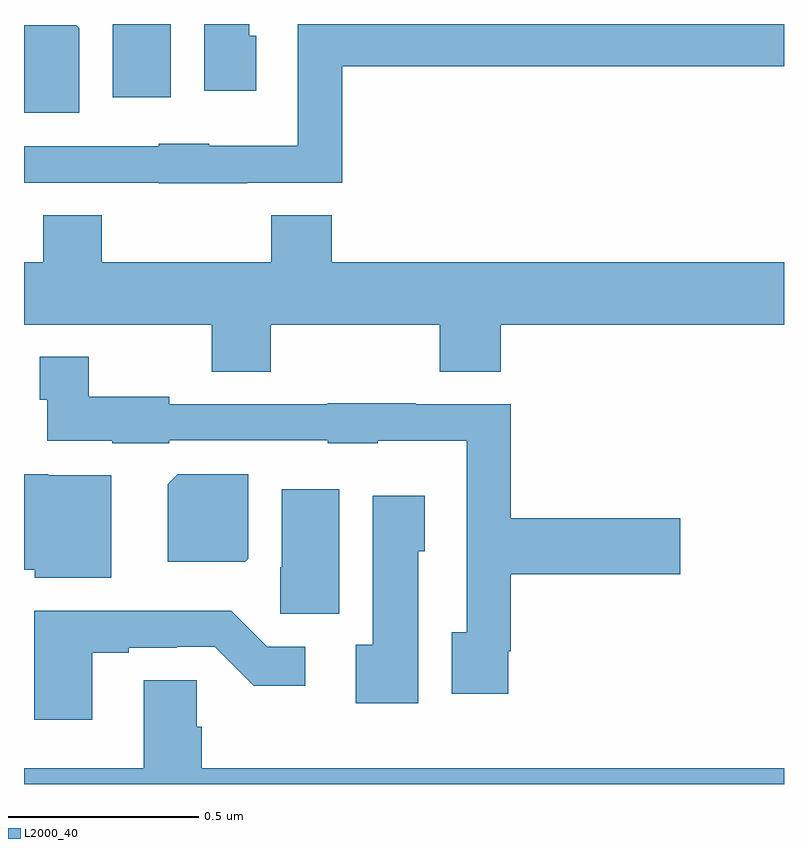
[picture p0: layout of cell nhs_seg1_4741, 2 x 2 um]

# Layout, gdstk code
import gdstk
lib = gdstk.Library(unit=1e-6, precision=1e-09)
def R(c, l, rs):  # rectangles x0, y0, x1, y1
    for r in rs: c.add(gdstk.rectangle(r[:2], r[2:], *l))
def P(c, l, *ps):  # polygons
    for p in ps: c.add(gdstk.Polygon(p, *l))
L2000_40 = (2000, 40)

nhs_seg1_4741 = lib.new_cell('nhs_seg1_4741')
R(nhs_seg1_4741, L2000_40, [(170.234,543.006,170.386,543.199)])
P(nhs_seg1_4741, L2000_40, [(170.611,543.168),(170.593,543.168),(170.593,543.199),(170.474,543.199),(170.474,543.024),(170.611,543.024)],
  [(170.587,542.781),(170.837,542.781),(170.837,543.088),(172,543.088),(172,543.199),(170.721,543.199),(170.721,542.878),(170.487,542.878),(170.487,542.884),(170.355,542.884),(170.355,542.877),(170,542.877),(170,542.781),(170.355,542.781),(170.355,542.78),(170.587,542.78)],
  [(170.146,543.188),(170.138,543.196),(170,543.196),(170,542.966),(170.146,542.966)],
  [(170.649,542.408),(171.094,542.408),(171.094,542.284),(171.254,542.284),(171.254,542.408),(172,542.408),(172,542.572),(170.81,542.572),(170.81,542.696),(170.65,542.696),(170.65,542.572),(170.205,542.572),(170.205,542.696),(170.05,542.696),(170.05,542.572),(170,542.572),(170,542.408),(170.494,542.408),(170.494,542.284),(170.649,542.284)],
  [(171.274,541.549),(171.281,541.549),(171.281,541.751),(171.727,541.751),(171.727,541.898),(171.281,541.898),(171.281,542.199),(171.031,542.199),(171.031,542.201),(170.799,542.201),(170.799,542.199),(170.382,542.199),(170.382,542.218),(170.17,542.218),(170.17,542.323),(170.041,542.323),(170.041,542.21),(170.061,542.21),(170.061,542.102),(170.232,542.102),(170.232,542.096),(170.382,542.096),(170.382,542.103),(170.799,542.103),(170.799,542.096),(170.931,542.096),(170.931,542.102),(171.165,542.102),(171.165,541.598),(171.125,541.598),(171.125,541.437),(171.274,541.437)],
  [(170.59,541.792),(170.59,542.014),(170.404,542.014),(170.378,541.988),(170.378,541.784),(170.582,541.784)],
  [(170.23,542.012),(170.064,542.012),(170.064,542.014),(170,542.014),(170,541.763),(170.028,541.763),(170.028,541.742),(170.23,541.742)],
  [(170.83,541.975),(170.678,541.975),(170.678,541.77),(170.674,541.77),(170.674,541.647),(170.83,541.647)],
  [(171.037,541.812),(171.055,541.812),(171.055,541.957),(170.918,541.957),(170.918,541.566),(170.873,541.566),(170.873,541.412),(171.037,541.412)],
  [(170.179,541.545),(170.275,541.545),(170.275,541.557),(170.402,541.557),(170.402,541.56),(170.502,541.56),(170.605,541.458),(170.74,541.458),(170.74,541.56),(170.64,541.56),(170.545,541.655),(170.027,541.655),(170.027,541.368),(170.179,541.368)],
  [(172,541.24),(170.468,541.24),(170.468,541.35),(170.454,541.35),(170.454,541.472),(170.315,541.472),(170.315,541.24),(170,541.24),(170,541.199),(172,541.199)])

lib.write_gds('nhs_seg1_4741.gds')
